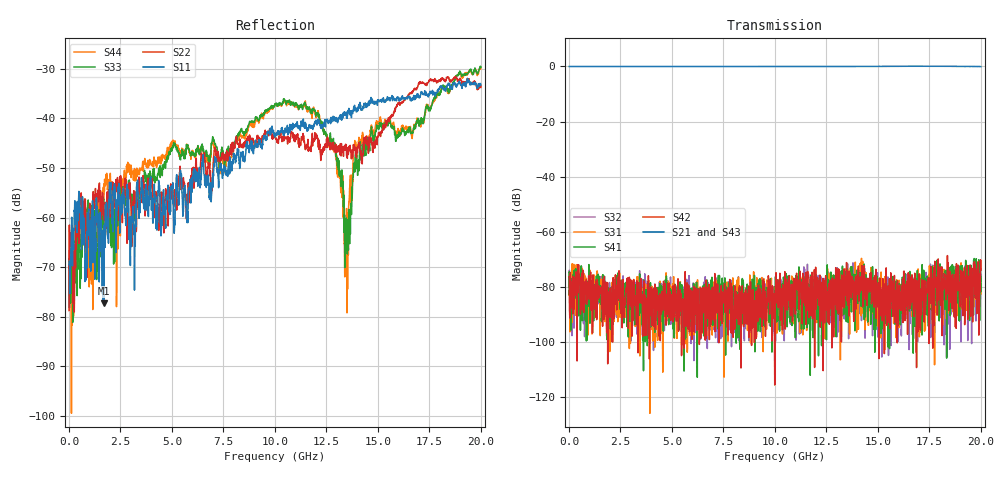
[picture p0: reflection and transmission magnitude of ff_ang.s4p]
# Hz S  RI  R 50
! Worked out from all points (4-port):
!   1601 points, 10 MHz to 20 GHz, reference 50 ohm
!   strongest paths, dB at 10 MHz, 5.008 GHz, 10.01 GHz, 15 GHz, 20 GHz:
!     S21: 0.0, 0.0, 0.0, 0.0, 0.0
!     S43: 0.0, 0.0, 0.0, 0.0, -0.1
!     S42: -76.2, -89.8, -105.9, -81.9, -73.8
!     S41: -82.8, -82.8, -89.7, -84.3, -76.1
!     S31: -82.9, -86.5, -82.4, -77.4, -82.5
!     S32: -82.2, -86.8, -79.8, -79.8, -75.4
!   lowest |S11| = -77.2 dB at 1.697 GHz (marker M1), VSWR 1.00, Z = 50 + j0.000939 ohm
!   |S11| at or under -10 dB: start of sweep to end of sweep
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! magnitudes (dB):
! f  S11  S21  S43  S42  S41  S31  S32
! 10 MHz  -69.5  0.0  0.0  -76.2  -82.8  -82.9  -82.2
! 1.697 GHz  -77.2  0.0  0.0  -91.7  -81.9  -81.4  -91.2
! 10.52 GHz  -42.6  0.0  0.0  -84.0  -92.7  -76.6  -80.1
! 12.84 GHz  -39.8  0.0  0.0  -83.7  -75.6  -84.6  -78.2
! 13.47 GHz  -38.7  0.0  0.0  -75.5  -92.5  -82.9  -76.2
! 14.18 GHz  -38.1  0.0  0.0  -81.0  -83.1  -71.2  -77.5
! 20 GHz  -33.3  0.0  -0.1  -73.8  -76.1  -82.5  -75.4
